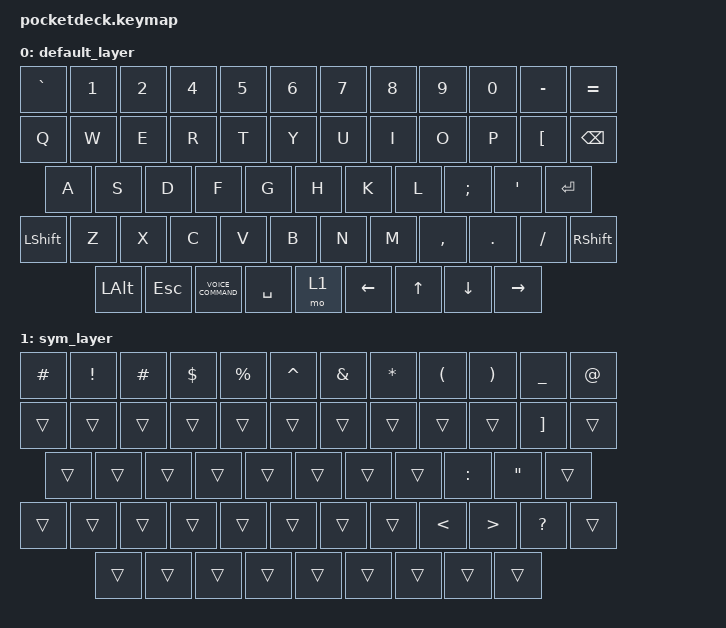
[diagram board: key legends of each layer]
#include <behaviors.dtsi>
#include <dt-bindings/zmk/keys.h>

/ {
    keymap {
        compatible = "zmk,keymap";

        default_layer {
            bindings = <
                &kp GRAVE &kp N1 &kp N2 &kp N4 &kp N5 &kp N6 &kp N7 &kp N8 &kp N9 &kp N0 &kp MINUS &kp EQUAL
                &kp Q &kp W &kp E &kp R &kp T &kp Y &kp U &kp I &kp O &kp P &kp LBKT &kp BSPC
                &kp A &kp S &kp D &kp F &kp G &kp H &kp K &kp L &kp SEMI &kp SQT &kp RET
                &kp LSHFT &kp Z &kp X &kp C &kp V &kp B &kp N &kp M &kp COMMA &kp DOT &kp FSLH &kp RSHFT
                &kp LALT &kp ESC &kp C_VOICE_COMMAND &kp SPACE &mo 1 &kp LEFT &kp UP &kp DOWN &kp RIGHT
            >;
        };

        sym_layer {
            bindings = <
                &kp HASH &kp EXCL &kp HASH &kp DLLR &kp PRCNT &kp CARET &kp AMPS &kp ASTRK &kp LPAR &kp RPAR &kp UNDER &kp AT
                &trans &trans &trans &trans &trans &trans &trans &trans &trans &trans &kp RBKT &trans
                &trans &trans &trans &trans &trans &trans &trans &trans &kp COLON &kp DQT &trans
                &trans &trans &trans &trans &trans &trans &trans &trans &kp LT &kp GT &kp QMARK &trans
                &trans &trans &trans &trans &trans &trans &trans &trans &trans
            >;
        };
    };
};
